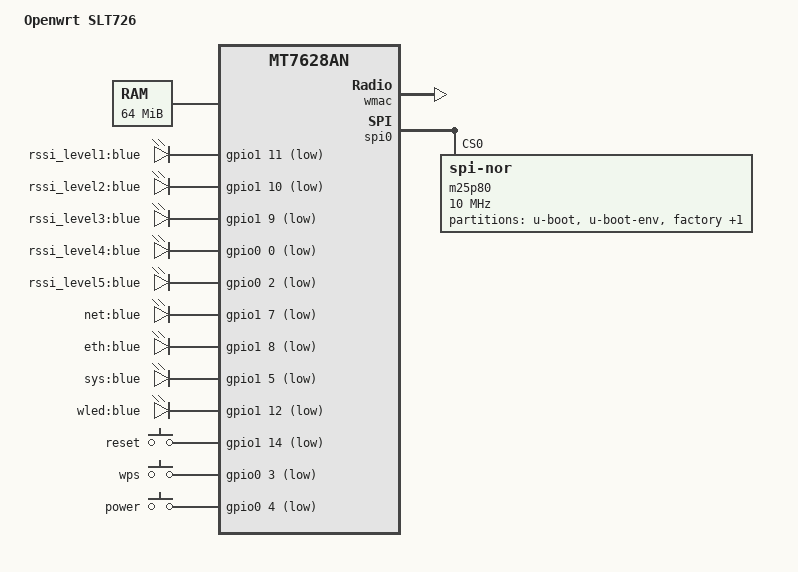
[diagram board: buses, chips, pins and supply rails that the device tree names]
/dts-v1/;

#include "mt7628an.dtsi"
#include <dt-bindings/gpio/gpio.h>
#include <dt-bindings/input/input.h>

/ {
	compatible = "mediatek,mt7628an-eval-board", "mediatek,mt7628an-soc";
	model = "Openwrt SLT726";

	memory@0 {
		device_type = "memory";
		reg = <0x0 0x4000000>;
	};

	gpio-leds {
                compatible = "gpio-leds";

                rssi_level1 {
                        label = "rssi_level1:blue";
                        gpios = <&gpio1 11 GPIO_ACTIVE_LOW>;
                };

                rssi_level2 {
                        label = "rssi_level2:blue";
                        gpios = <&gpio1 10 GPIO_ACTIVE_LOW>;
                };

                rssi_level3 {
                        label = "rssi_level3:blue";
                        gpios = <&gpio1 9 GPIO_ACTIVE_LOW>;
                };

                rssi_level4 {
                        label = "rssi_level4:blue";
                        gpios = <&gpio0 0 GPIO_ACTIVE_LOW>;
                };

                rssi_level5 {
                        label = "rssi_level5:blue";
                        gpios = <&gpio0 2 GPIO_ACTIVE_LOW>;
                };

                net {
                        label = "net:blue";
                        gpios = <&gpio1 7 GPIO_ACTIVE_LOW>;
                };

                eth {
                        label = "eth:blue";
                        gpios = <&gpio1 8 GPIO_ACTIVE_LOW>;
                };

                sys {
                        label = "sys:blue";
                        gpios = <&gpio1 5 GPIO_ACTIVE_LOW>;
                };

                wled {
                        label = "wled:blue";
                        gpios = <&gpio1 12 GPIO_ACTIVE_LOW>;
                };
        };

        gpio-keys-polled {
                compatible = "gpio-keys-polled";
                #address-cells = <1>;
                #size-cells = <0>;
                poll-interval = <10>;

                reset {
                        label = "reset";
                        gpios = <&gpio1 14 GPIO_ACTIVE_LOW>;
                        linux,code = <KEY_RESTART>;
                };
                wps {
                        label = "wps";
                        gpios = <&gpio0 3 GPIO_ACTIVE_LOW>;
                        linux,code = <KEY_WPS_BUTTON>;
                };

                power {
                        label = "power";
                        gpios = <&gpio0 4 GPIO_ACTIVE_LOW>;
                        linux,code = <KEY_POWER>;
                };
        };
};

&pinctrl {
	state_default: pinctrl0 {
		gpio {
			ralink,group = "i2c", "i2s", "p0led_an", "p1led_an", "p2led_an", "p3led_an", "p4led_an", "uart1", "refclk", "wled_an";
			ralink,function = "gpio";
		};
	};
};

&wmac {
	status = "okay";
};

&spi0 {
	status = "okay";

	m25p80@0 {
		#address-cells = <1>;
		#size-cells = <1>;
		compatible = "jedec,spi-nor";
		reg = <0>;
		spi-max-frequency = <10000000>;
		m25p,chunked-io = <32>;

		partition@0 {
			label = "u-boot";
			reg = <0x0 0x30000>;
			read-only;
		};

		partition@30000 {
			label = "u-boot-env";
			reg = <0x30000 0x10000>;
		};

		factory: partition@40000 {
			label = "factory";
			reg = <0x40000 0x10000>;
		};

		partition@50000 {
			label = "firmware";
			reg = <0x50000 0xfb0000>;
		};
	};
};

&wmac {
	status = "okay";
};

&ethernet {
    mtd-mac-address = <&factory 0x28>;
};
